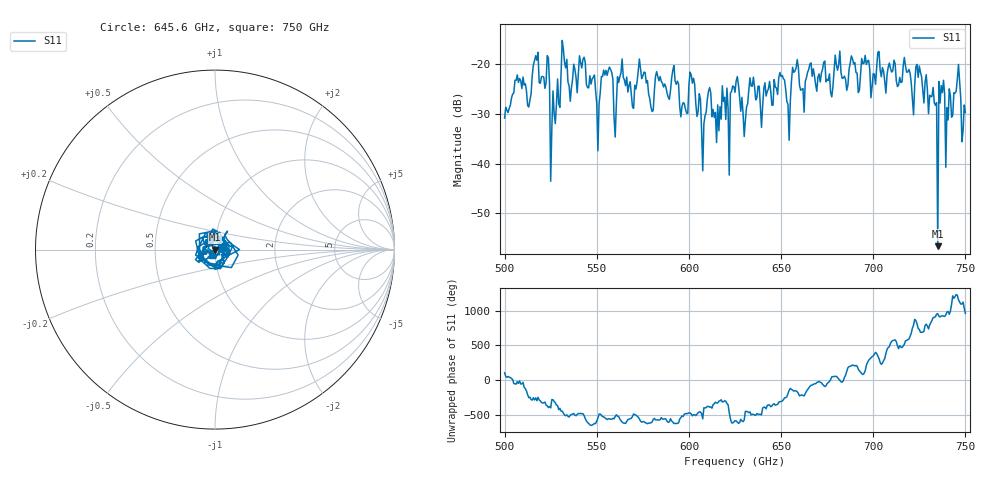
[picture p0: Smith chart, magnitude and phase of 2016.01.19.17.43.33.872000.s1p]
!Created with skrf (http://scikit-rf.org).
# GHz S RI R 50.0
!freq ReS11 ImS11
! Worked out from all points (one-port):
!   401 points, 500 GHz to 750 GHz, reference 50 ohm
!   lowest |S11| = -56.6 dB at 735 GHz (marker M1), VSWR 1.00, Z = 49.9 - j0.122 ohm
!   |S11| at or under -10 dB: start of sweep to end of sweep
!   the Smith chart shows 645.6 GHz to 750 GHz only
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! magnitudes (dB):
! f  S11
! 500 GHz  -30.8
! 506.9 GHz  -22.1
! 513.1 GHz  -28.6
! 516.9 GHz  -18.2
! 523.1 GHz  -18.2
! 526.2 GHz  -25.3
! 531.2 GHz  -15.2
! 542.5 GHz  -19.0
! 550.6 GHz  -37.4
! 553.8 GHz  -21.1
! 562.5 GHz  -22.5
! 593.8 GHz  -23.4
! 598.1 GHz  -29.0
! 601.9 GHz  -23.8
! 608.1 GHz  -31.9
! 610.6 GHz  -25.4
! 620.6 GHz  -24.7
! 625 GHz  -25.6
! 630.6 GHz  -31.3
! 633.8 GHz  -24.3
! 650.6 GHz  -22.2
! 653.8 GHz  -28.0
! 656.2 GHz  -20.6
! 687.5 GHz  -19.8
! 718.8 GHz  -21.5
! 735 GHz  -56.6
! 736.9 GHz  -24.3
! 750 GHz  -29.7
